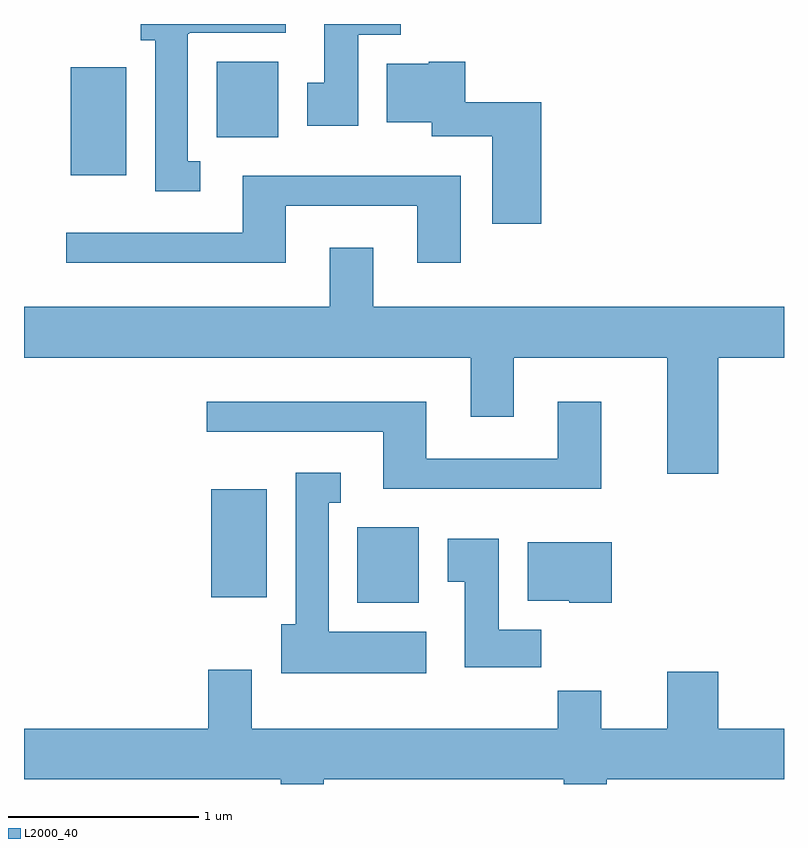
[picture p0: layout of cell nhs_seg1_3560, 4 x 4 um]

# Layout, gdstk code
import gdstk
lib = gdstk.Library(unit=1e-6, precision=1e-09)
def R(c, l, rs):  # rectangles x0, y0, x1, y1
    for r in rs: c.add(gdstk.rectangle(r[:2], r[2:], *l))
def P(c, l, *ps):  # polygons
    for p in ps: c.add(gdstk.Polygon(p, *l))
L2000_40 = (2000, 40)

nhs_seg1_3560 = lib.new_cell('nhs_seg1_3560')
R(nhs_seg1_3560, L2000_40, [(293.366,962.666,293.689,963.064), (292.596,962.696,292.889,963.264), (291.856,964.916,292.149,965.484), (292.626,965.116,292.949,965.514)])
P(nhs_seg1_3560, L2000_40, [(292.538,964.989),(292.474,964.989),(292.474,965.66),(292.48,965.66),(292.48,965.666),(292.989,965.666),(292.989,965.712),(292.226,965.712),(292.226,965.626),(292.301,965.626),(292.301,964.831),(292.538,964.831)],
  [(293.369,965.656),(293.594,965.656),(293.594,965.712),(293.191,965.712),(293.191,965.404),(293.101,965.404),(293.101,965.176),(293.369,965.176)],
  [(294.334,965.299),(293.934,965.299),(293.934,965.514),(293.74,965.514),(293.74,965.504),(293.521,965.504),(293.521,965.196),(293.756,965.196),(293.756,965.121),(294.076,965.121),(294.076,964.661),(294.334,964.661)],
  [(292.989,964.756),(293.681,964.756),(293.681,964.456),(293.909,964.456),(293.909,964.914),(292.761,964.914),(292.761,964.614),(291.833,964.614),(291.833,964.456),(292.989,964.456)],
  [(295.264,963.956),(295.611,963.956),(295.611,964.224),(293.449,964.224),(293.449,964.534),(293.221,964.534),(293.221,964.224),(291.611,964.224),(291.611,963.956),(293.961,963.956),(293.961,963.646),(294.189,963.646),(294.189,963.956),(294.996,963.956),(294.996,963.346),(295.264,963.346)],
  [(294.649,963.724),(294.421,963.724),(294.421,963.424),(293.729,963.424),(293.729,963.724),(292.573,963.724),(292.573,963.566),(293.501,963.566),(293.501,963.266),(294.649,963.266)],
  [(293.729,962.514),(293.214,962.514),(293.214,963.191),(293.278,963.191),(293.278,963.349),(293.041,963.349),(293.041,962.554),(292.966,962.554),(292.966,962.296),(293.729,962.296)],
  [(294.334,962.524),(294.109,962.524),(294.109,963.004),(293.841,963.004),(293.841,962.776),(293.931,962.776),(293.931,962.326),(294.334,962.326)],
  [(294.704,962.984),(294.261,962.984),(294.261,962.676),(294.48,962.676),(294.48,962.666),(294.704,962.666)],
  [(295.611,962.004),(295.264,962.004),(295.264,962.304),(294.996,962.304),(294.996,962.004),(294.649,962.004),(294.649,962.204),(294.421,962.204),(294.421,962.004),(292.809,962.004),(292.809,962.314),(292.581,962.314),(292.581,962.004),(291.611,962.004),(291.611,961.736),(292.961,961.736),(292.961,961.712),(293.189,961.712),(293.189,961.736),(294.451,961.736),(294.451,961.712),(294.679,961.712),(294.679,961.736),(295.611,961.736)])

lib.write_gds('nhs_seg1_3560.gds')
